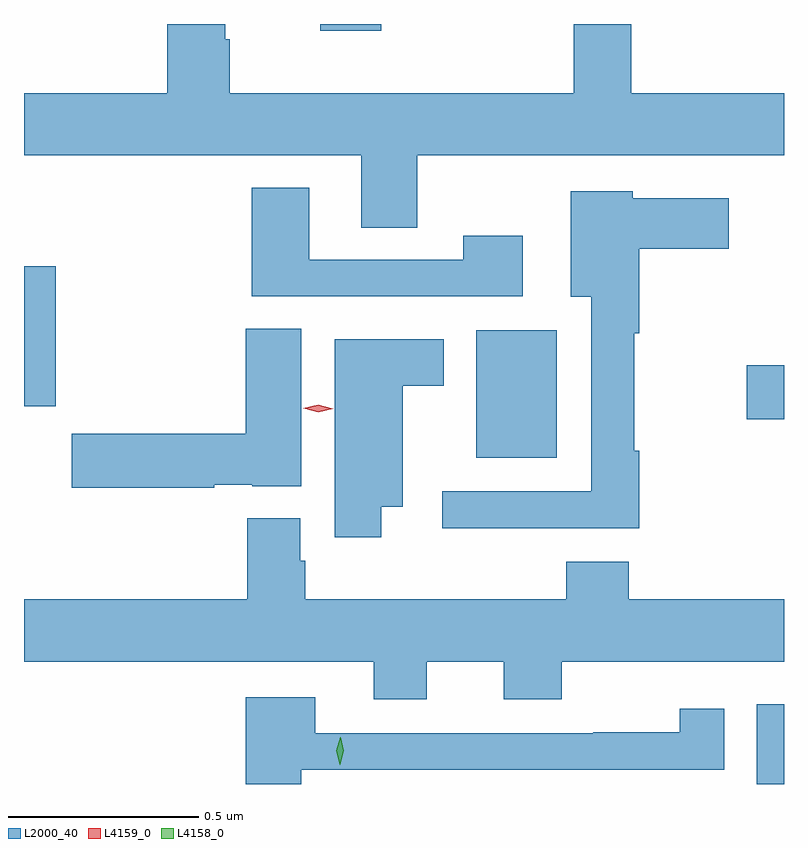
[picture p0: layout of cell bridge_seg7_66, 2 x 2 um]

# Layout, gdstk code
import gdstk
lib = gdstk.Library(unit=1e-6, precision=1e-09)
def R(c, l, rs):  # rectangles x0, y0, x1, y1
    for r in rs: c.add(gdstk.rectangle(r[:2], r[2:], *l))
def P(c, l, *ps):  # polygons
    for p in ps: c.add(gdstk.Polygon(p, *l))
L2000_40 = (2000, 40)
L4158_0 = (4158, 0)
L4159_0 = (4159, 0)

bridge_seg7_66 = lib.new_cell('bridge_seg7_66')
R(bridge_seg7_66, L2000_40, [(967.004,1009.618,967.076,1009.828), (966.266,1010.477,966.478,1010.812), (966.978,1010.578,967.076,1010.72), (965.076,1010.612,965.159,1010.98), (965.855,1011.6,966.016,1011.618)])
P(bridge_seg7_66, L2000_40, [(966.111,1011.272),(967.076,1011.272),(967.076,1011.436),(966.674,1011.436),(966.674,1011.618),(966.523,1011.618),(966.523,1011.436),(965.618,1011.436),(965.618,1011.578),(965.605,1011.578),(965.605,1011.618),(965.453,1011.618),(965.453,1011.436),(965.076,1011.436),(965.076,1011.272),(965.963,1011.272),(965.963,1011.082),(966.111,1011.082)],
  [(966.388,1011.061),(966.232,1011.061),(966.232,1010.997),(965.827,1010.997),(965.827,1011.187),(965.675,1011.187),(965.675,1010.901),(966.388,1010.901)],
  [(966.695,1010.495),(966.682,1010.495),(966.682,1010.804),(966.695,1010.804),(966.695,1011.026),(966.931,1011.026),(966.931,1011.16),(966.678,1011.16),(966.678,1011.178),(966.515,1011.178),(966.515,1010.9),(966.569,1010.9),(966.569,1010.388),(966.177,1010.388),(966.177,1010.291),(966.695,1010.291)],
  [(965.576,1010.405),(965.676,1010.405),(965.676,1010.402),(965.806,1010.402),(965.806,1010.816),(965.66,1010.816),(965.66,1010.54),(965.202,1010.54),(965.202,1010.398),(965.576,1010.398)],
  [(966.016,1010.348),(966.073,1010.348),(966.073,1010.666),(966.181,1010.666),(966.181,1010.788),(965.894,1010.788),(965.894,1010.268),(966.016,1010.268)],
  [(966.136,1009.94),(966.338,1009.94),(966.338,1009.841),(966.491,1009.841),(966.491,1009.94),(967.076,1009.94),(967.076,1010.104),(966.668,1010.104),(966.668,1010.203),(966.503,1010.203),(966.503,1010.104),(965.816,1010.104),(965.816,1010.205),(965.803,1010.205),(965.803,1010.317),(965.663,1010.317),(965.663,1010.104),(965.076,1010.104),(965.076,1009.94),(965.996,1009.94),(965.996,1009.841),(966.136,1009.841)],
  [(965.806,1009.656),(966.919,1009.656),(966.919,1009.816),(966.802,1009.816),(966.802,1009.754),(966.574,1009.754),(966.574,1009.752),(965.842,1009.752),(965.842,1009.846),(965.66,1009.846),(965.66,1009.618),(965.806,1009.618)])
P(bridge_seg7_66, L4158_0, [(965.907,1009.669),(965.898,1009.705),(965.908,1009.741),(965.909,1009.741),(965.909,1009.741),(965.918,1009.705),(965.908,1009.669),(965.908,1009.669)])
P(bridge_seg7_66, L4159_0, [(965.85,1010.596),(965.811,1010.607),(965.811,1010.607),(965.811,1010.607),(965.85,1010.616),(965.89,1010.606),(965.89,1010.606),(965.89,1010.606)])

lib.write_gds('bridge_seg7_66.gds')
